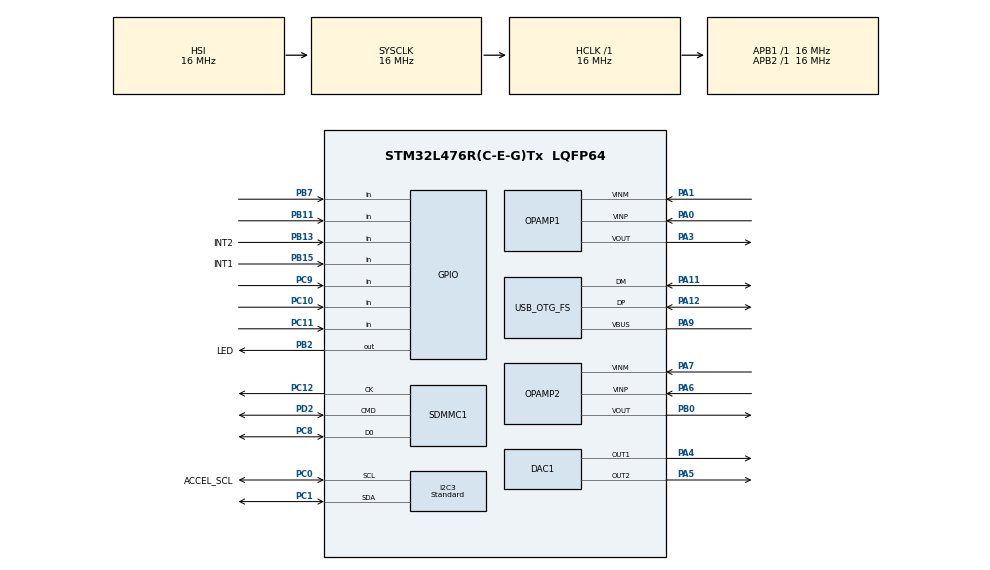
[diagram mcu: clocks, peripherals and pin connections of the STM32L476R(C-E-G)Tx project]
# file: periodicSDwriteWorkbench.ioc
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ADC1.AWD1HighThreshold=3000
ADC1.AWD1ITMode=ENABLE
ADC1.AWD1LowThreshold=1000
ADC1.Channel-0\#ChannelRegularConversion=ADC_CHANNEL_8
ADC1.Channel-1\#ChannelRegularConversion=ADC_CHANNEL_15
ADC1.ClockPrescaler=ADC_CLOCK_ASYNC_DIV8
ADC1.ContinuousConvMode=ENABLE
ADC1.DMAContinuousRequests=ENABLE
ADC1.DataAlign=ADC_DATAALIGN_RIGHT
ADC1.DiscontinuousConvMode=DISABLE
ADC1.EOCSelection=ADC_EOC_SINGLE_CONV
ADC1.EnableAnalogWatchDog1=true
ADC1.EnableAnalogWatchDog2=false
ADC1.EnableAnalogWatchDog3=false
ADC1.EnableInjectedConversion=DISABLE
ADC1.EnableRegularConversion=ENABLE
ADC1.ExternalTrigConv=ADC_SOFTWARE_START
ADC1.ExternalTrigConvEdge=ADC_EXTERNALTRIGCONVEDGE_NONE
ADC1.LowPowerAutoWait=DISABLE
ADC1.NbrOfConversion=2
ADC1.NbrOfConversionFlag=1
ADC1.OffsetNumber-0\#ChannelRegularConversion=ADC_OFFSET_NONE
ADC1.OffsetNumber-1\#ChannelRegularConversion=ADC_OFFSET_NONE
ADC1.Overrun=ADC_OVR_DATA_OVERWRITTEN
ADC1.OversamplingMode=DISABLE
ADC1.Rank-0\#ChannelRegularConversion=1
ADC1.Rank-1\#ChannelRegularConversion=2
ADC1.Resolution=ADC_RESOLUTION_12B
ADC1.SamplingTime-0\#ChannelRegularConversion=ADC_SAMPLETIME_2CYCLES_5
ADC1.SamplingTime-1\#ChannelRegularConversion=ADC_SAMPLETIME_2CYCLES_5
ADC1.ScanConvMode=ADC_SCAN_ENABLE
ADC1.WatchdogChannel=ADC_CHANNEL_15
ADC1.WatchdogMode=ADC_ANALOGWATCHDOG_SINGLE_REG
ADC1.master=1
DAC1.DAC_Channel-DAC_OUT2=DAC_CHANNEL_2
DAC1.DAC_SampleAndHold-DAC_OUT1=DAC_SAMPLEANDHOLD_DISABLE
Dma.ADC1.0.Direction=DMA_PERIPH_TO_MEMORY
Dma.ADC1.0.Instance=DMA1_Channel1
Dma.ADC1.0.MemDataAlignment=DMA_MDATAALIGN_HALFWORD
Dma.ADC1.0.MemInc=DMA_MINC_ENABLE
Dma.ADC1.0.Mode=DMA_CIRCULAR
Dma.ADC1.0.PeriphDataAlignment=DMA_PDATAALIGN_HALFWORD
Dma.ADC1.0.PeriphInc=DMA_PINC_DISABLE
Dma.ADC1.0.Priority=DMA_PRIORITY_MEDIUM
Dma.Request0=ADC1
FATFS.BSP.number=1
FATFS.USE_DMA_CODE_SD=0
FATFS._FS_TIMEOUT=100
FATFS._USE_EXPAND=0
FATFS._USE_FASTSEEK=0
FATFS._USE_LFN=1
FATFS0.BSP.STBoard=false
FATFS0.BSP.api=UnknownBspDriver
FATFS0.BSP.i2caddr=0
FATFS0.BSP.i2creg=0
FATFS0.BSP.instance=PB7
FATFS0.BSP.ip=GPIO
FATFS0.BSP.mode=Input
FATFS0.BSP.name=Detect_SDIO
FATFS0.BSP.solution=PB7
I2C3.I2C_Speed_Mode=I2C_Standard
I2C3.Timing=0x00303D5B
Mcu.Family=STM32L4
Mcu.Name=STM32L476R(C-E-G)Tx
Mcu.Package=LQFP64
NVIC.ADC1_2_IRQn=true\:0\:0\:true\:false\:true\:true
NVIC.DMA1_Channel1_IRQn=true\:1\:0\:true\:false\:true\:false
NVIC.OTG_FS_IRQn=true\:0\:0\:false\:false\:true\:false
NVIC.PriorityGroup=NVIC_PRIORITYGROUP_4
NVIC.TIM6_DAC_IRQn=true\:1\:0\:true\:false\:true\:true
OPAMP1.PowerSupplyRange=OPAMP_POWERSUPPLY_HIGH
OPAMP2.PgaGain=OPAMP_PGA_GAIN_16
OPAMP2.PowerSupplyRange=OPAMP_POWERSUPPLY_HIGH
PA0.Mode=PGA Connected
PA0.Signal=OPAMP1_VINP
PA1.Mode=PGA Connected
PA1.Signal=OPAMP1_VINM
PA11.Mode=Device_Only
PA11.Signal=USB_OTG_FS_DM
PA12.Mode=Device_Only
PA12.Signal=USB_OTG_FS_DP
PA13\ (JTMS-SWDIO).Mode=Trace_Asynchronous_SW
PA13\ (JTMS-SWDIO).Signal=SYS_JTMS-SWDIO
PA14\ (JTCK-SWCLK).GPIO_Label=TCK
PA14\ (JTCK-SWCLK).Mode=Trace_Asynchronous_SW
PA14\ (JTCK-SWCLK).Signal=SYS_JTCK-SWCLK
PA3.Signal=SharedAnalog_PA3
PA4.Signal=COMP_DAC11_group
PA5.Signal=COMP_DAC12_group
PA6.Mode=PGA Connected
PA6.Signal=OPAMP2_VINP
PA7.Mode=PGA Connected
PA7.Signal=OPAMP2_VINM
PA9.Mode=Activate_VBUS
PA9.Signal=USB_OTG_FS_VBUS
PB0.Signal=SharedAnalog_PB0
PB11.Signal=GPIO_Input
PB13.GPIO_Label=INT2
PB13.Signal=GPIO_Input
PB15.GPIO_Label=INT1
PB15.Signal=GPIO_Input
PB2.GPIO_Label=LED
PB2.Signal=GPIO_Output
PB3\ (JTDO-TRACESWO).GPIO_Label=SWO
PB3\ (JTDO-TRACESWO).Mode=Trace_Asynchronous_SW
PB3\ (JTDO-TRACESWO).Signal=SYS_JTDO-SWO
PB7.Signal=GPIO_Input
PC0.GPIO_Label=ACCEL_SCL
PC0.Mode=I2C
PC0.Signal=I2C3_SCL
PC1.Mode=I2C
PC1.Signal=I2C3_SDA
PC10.Signal=GPIO_Input
PC11.Signal=GPIO_Input
PC12.GPIO_PuPd=GPIO_NOPULL
PC12.Mode=SD_1_bit
PC12.Signal=SDMMC1_CK
PC14-OSC32_IN\ (PC14).Mode=LSE-External-Oscillator
PC14-OSC32_IN\ (PC14).Signal=RCC_OSC32_IN
PC15-OSC32_OUT\ (PC15).Mode=LSE-External-Oscillator
PC15-OSC32_OUT\ (PC15).Signal=RCC_OSC32_OUT
PC8.GPIO_PuPd=GPIO_PULLUP
PC8.Mode=SD_1_bit
PC8.Signal=SDMMC1_D0
PC9.Signal=GPIO_Input
PD2.GPIO_PuPd=GPIO_PULLUP
PD2.Mode=SD_1_bit
PD2.Signal=SDMMC1_CMD
ProjectManager.HeapSize=0x100
ProjectManager.StackSize=0x100
ProjectManager.TargetToolchain=SW4STM32
RCC.ADCCLockSelection=RCC_ADCCLKSOURCE_SYSCLK
RCC.ADCFreq_Value=16000000
RCC.AHBFreq_Value=16000000
RCC.APB1Freq_Value=16000000
RCC.APB1TimFreq_Value=16000000
RCC.APB2Freq_Value=16000000
RCC.APB2TimFreq_Value=16000000
RCC.CK48CLockSelection=RCC_USBCLKSOURCE_MSI
RCC.CortexFreq_Value=16000000
RCC.HCLKFreq_Value=16000000
RCC.HSE_VALUE=8000000
RCC.HSI_VALUE=16000000
RCC.MSIClockRange=RCC_MSIRANGE_11
RCC.MSI_VALUE=48000000
RCC.PLLM=2
RCC.PLLN=10
RCC.PLLSAI1N=25
RCC.PLLSAI1Q=RCC_PLLQ_DIV4
RCC.PLLSAI1R=RCC_PLLR_DIV4
RCC.PLLSourceVirtual=RCC_PLLSOURCE_HSI
RCC.PREFETCH_ENABLE=1
RCC.SYSCLKFreq_VALUE=16000000
RCC.SYSCLKSource=RCC_SYSCLKSOURCE_HSI
RCC.USBFreq_Value=48000000
RCC.VCOOutputFreq_Value=80000000
RTC.Alarm-Alarm\ A=RTC_ALARM_A
SDMMC1.ClockDiv=2
SDMMC1.HardwareFlowControl=SDMMC_HARDWARE_FLOW_CONTROL_ENABLE
SH.COMP_DAC11_group.0=DAC1_OUT1,DAC_OUT1
SH.COMP_DAC12_group.0=DAC1_OUT2,DAC_OUT2
SH.SharedAnalog_PA3.0=ADC1_IN8
SH.SharedAnalog_PA3.1=OPAMP1_VOUT,PGA Connected
SH.SharedAnalog_PB0.0=ADC1_IN15
SH.SharedAnalog_PB0.1=OPAMP2_VOUT,PGA Connected
TIM6.AutoReloadPreload=TIM_AUTORELOAD_PRELOAD_ENABLE
TIM6.Period=48000
TIM6.Prescaler=19999
TIM6.TIM_MasterOutputTrigger=TIM_TRGO_UPDATE
USB_DEVICE.CLASS_NAME_FS=CDC
USB_DEVICE.VirtualMode=Cdc
USB_DEVICE.VirtualModeFS=Cdc_FS
USB_OTG_FS.VirtualMode=Device_Only
VP_ADC1_OPAMP1_OUT.Mode=IN-OPAMP1-Single-Ended
VP_ADC1_OPAMP2_OUT.Mode=IN-OPAMP2-Single-Ended
VP_FATFS_VS_SDIO.Mode=SDIO
VP_RNG_VS_RNG.Mode=RNG_Activate
VP_RTC_VS_RTC_Activate.Mode=RTC_Enabled
VP_RTC_VS_RTC_Alarm_A_Intern.Mode=Alarm A
VP_RTC_VS_RTC_Calendar.Mode=RTC_Calendar
VP_TIM6_VS_ClockSourceINT.Mode=Enable_Timer
VP_USB_DEVICE_VS_USB_DEVICE_CDC_FS.Mode=CDC_FS
board=NUCLEO-L476RG

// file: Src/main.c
/**
 ******************************************************************************
 * @file           : main.c
 * @brief          : Main program body
 ******************************************************************************
 * This notice applies to any and all portions of this file
 * that are not between comment pairs USER CODE BEGIN and
 * USER CODE END. Other portions of this file, whether
 * inserted by the user or by software development tools
 * are owned by their respective copyright owners.
 *
 * Copyright (c) 2018 STMicroelectronics International N.V.
 * All rights reserved.
 *
 * Redistribution and use in source and binary forms, with or without
 * modification, are permitted, provided that the following conditions are met:
 *
 * 1. Redistribution of source code must retain the above copyright notice,
 *    this list of conditions and the following disclaimer.
 * 2. Redistributions in binary form must reproduce the above copyright notice,
 *    this list of conditions and the following disclaimer in the documentation
 *    and/or other materials provided with the distribution.
 * 3. Neither the name of STMicroelectronics nor the names of other
 *    contributors to this software may be used to endorse or promote products
 *    derived from this software without specific written permission.
 * 4. This software, including modifications and/or derivative works of this
 *    software, must execute solely and exclusively on microcontroller or
 *    microprocessor devices manufactured by or for STMicroelectronics.
 * 5. Redistribution and use of this software other than as permitted under
 *    this license is void and will automatically terminate your rights under
 *    this license.
 *
 * THIS SOFTWARE IS PROVIDED BY STMICROELECTRONICS AND CONTRIBUTORS "AS IS"
 * AND ANY EXPRESS, IMPLIED OR STATUTORY WARRANTIES, INCLUDING, BUT NOT
 * LIMITED TO, THE IMPLIED WARRANTIES OF MERCHANTABILITY, FITNESS FOR A
 * PARTICULAR PURPOSE AND NON-INFRINGEMENT OF THIRD PARTY INTELLECTUAL PROPERTY
 * RIGHTS ARE DISCLAIMED TO THE FULLEST EXTENT PERMITTED BY LAW. IN NO EVENT
 * SHALL STMICROELECTRONICS OR CONTRIBUTORS BE LIABLE FOR ANY DIRECT, INDIRECT,
 * INCIDENTAL, SPECIAL, EXEMPLARY, OR CONSEQUENTIAL DAMAGES (INCLUDING, BUT NOT
 * LIMITED TO, PROCUREMENT OF SUBSTITUTE GOODS OR SERVICES; LOSS OF USE, DATA,
 * OR PROFITS; OR BUSINESS INTERRUPTION) HOWEVER CAUSED AND ON ANY THEORY OF
 * LIABILITY, WHETHER IN CONTRACT, STRICT LIABILITY, OR TORT (INCLUDING
 * NEGLIGENCE OR OTHERWISE) ARISING IN ANY WAY OUT OF THE USE OF THIS SOFTWARE,
 * EVEN IF ADVISED OF THE POSSIBILITY OF SUCH DAMAGE.
 *
 ******************************************************************************
 */
#include "main.h"
#include "stm32l4xx_hal.h"
#include "adc.h"
#include "dac.h"
#include "dma.h"
#include "fatfs.h"
#include "i2c.h"
#include "opamp.h"
#include "rng.h"
#include "rtc.h"
#include "sdmmc.h"
#include "tim.h"
#include "usb_device.h"
#include "gpio.h"

/* USER CODE BEGIN Includes */
#include "ADXL345.h"
#include <string.h>
/* USER CODE END Includes */

/* USER CODE BEGIN PV */
/* Private variables ---------------------------------------------------------*/

//
typedef enum {
	SD_READY = 0u, SD_SENDING_FIRSTHALF = 1u, SD_SENDING_SECONDHALF = 2u,
} SD_SEND_STATE;

//extern SD_HandleTypeDef hsd1;
HAL_SD_CardStatusTypedef status;
uint32_t wbytes; /* File write counts */
uint32_t byteswritten, bytesread;
uint16_t adcBuffer[numOfMicSamples] = { 0 }; /* File write buffer */
uint8_t *halfADCBuffer = (uint8_t *) adcBuffer + bufferSize / 2; //half of the buffer
uint8_t workBuffer[_MAX_SS];
uint8_t res;
volatile uint8_t sdSendState = SD_READY;
char randomNumberString[12] = { 0 };
char extension[] = "";
char filename[15] = { 0 };
char micFilename[10] = { 0 };
char accelFilename[10] = { 0 };
uint16_t micSDWriteCnt = 0u;
uint8_t micWriteSD = 0u;

//rtc
uint8_t aShowTime[8] = { 0 };

//uart
uint8_t uartData[50];
uint8_t errorCode = 0u;

//analog watchdog tresholds
uint16_t lt = 1500;
uint16_t ht = 2500;

//accelerometer
int16_t accelData[numOfAccelSamples][3] = { 0 };
uint16_t accelCurrentPos = 0u;
volatile uint8_t watermarkInt = 0u;
volatile uint16_t dataLeftInFifo = 0u;
uint8_t accelWriteSD = 0u;

//fatfs
FIL micSDFile;
FIL accelSDFile;
/* USER CODE END PV */

void SystemClock_Config(void);

/* USER CODE BEGIN PFP */
/* Private function prototypes -----------------------------------------------*/
void startSampling();

void startSDCard();
HAL_StatusTypeDef startADC();
HAL_StatusTypeDef stopADC();
HAL_StatusTypeDef reConfigureAWD1(uint16_t lt, uint16_t ht);
void RTC_TimeShow(uint8_t* showtime);

void createFilename();
void createMicFilename();
void createAccelFilename();
HAL_StatusTypeDef openAndExpandMicFile();
HAL_StatusTypeDef openAndExpandAccelFile();

FRESULT writeHalfBuffer(const void* startAddress);
void micSDWritesFinished();
void accelSDWritesFinished();

FRESULT writeAccelData();
void readAccelData(uint8_t n);
void initAccel();
void startAccel();
void stopAccel();

//DAC
void startDAC();
void stopDAC();
/* USER CODE END PFP */

int main(void)
{

	/* MCU Configuration----------------------------------------------------------*/

	/* Reset of all peripherals, Initializes the Flash interface and the Systick. */
	HAL_Init();

	/* Configure the system clock */
	SystemClock_Config();

	/* Initialize all configured peripherals */
	MX_GPIO_Init();
	MX_DMA_Init();
	MX_OPAMP2_Init();
	MX_ADC1_Init();
	MX_SDMMC1_SD_Init();
	MX_FATFS_Init();
	MX_TIM6_Init();
	MX_RTC_Init();
	MX_RNG_Init();
	MX_I2C3_Init();
	MX_USB_DEVICE_Init();
	MX_OPAMP1_Init();
	MX_DAC1_Init();
	/* USER CODE BEGIN 2 */
	//sprintf((char*) uartData, "reset\n");
	//HAL_UART_Transmit(&huart2, uartData, strlen(uartData), 100);
	//start SD card, mount file system
	startSDCard();
	//open and expand files for Mic and Accelerometer
	openAndExpandMicFile();
	openAndExpandAccelFile();
	//init accelerometer
	initAccel();
	//init channel biases
	startDAC();
	//start opamp(s)
	HAL_OPAMP_Start(&hopamp1);
	HAL_OPAMP_Start(&hopamp2);
	//start ADC in DMA circular mode
	startADC();
	//start timer
	HAL_TIM_Base_Start_IT(&htim6);
	//the system is ready to write SD card
	sdSendState = SD_READY; //place it!!!

	/* USER CODE END 2 */

	/* Infinite loop */
	while (1) {

		/* USER CODE BEGIN 3 */
		if (micWriteSD == 1) {
			if (sdSendState == SD_SENDING_FIRSTHALF) {
				if (writeHalfBuffer(adcBuffer) == FR_OK) {
					if (sdSendState == SD_SENDING_FIRSTHALF) {
						sdSendState = SD_READY;
					}
					//HAL_GPIO_WritePin(GPIOB, GPIO_PIN_13, 0);
					micSDWriteCnt++;
				}
			}
			if (sdSendState == SD_SENDING_SECONDHALF) {
				if (writeHalfBuffer(halfADCBuffer) == FR_OK) {
					if (sdSendState == SD_SENDING_SECONDHALF) {
						sdSendState = SD_READY;
					}
					//HAL_GPIO_WritePin(GPIOB, GPIO_PIN_14, 0);
					micSDWriteCnt++;
				}
			}
			if (micSDWriteCnt >= numOfBufferWrites) {
				micSDWritesFinished();
			}
			if (sdSendState == SD_SENDING_FIRSTHALF
					|| sdSendState == SD_SENDING_SECONDHALF) {
				continue;
			}
		}
		if (accelWriteSD == 1) {
			//check accelerometer
			if (HAL_GPIO_ReadPin(GPIOB, GPIO_PIN_15) == GPIO_PIN_SET) {
				watermarkInt = 1u;
				dataLeftInFifo = 25u;
			} else {
				watermarkInt = 0u;
			}
			//if there are enough samples -> watermark 1 -> read one sample
			if (dataLeftInFifo > 0u) {
				readAccelData(1);
				dataLeftInFifo--;
			}
			//if we have enough data -> write to SD card and open new file
			if (accelCurrentPos >= numOfAccelSamples) {
				writeAccelData();
				accelSDWritesFinished();
			}
		}
	}
	/* USER CODE END 3 */

}

void SystemClock_Config(void)
{

	RCC_OscInitTypeDef RCC_OscInitStruct;
	RCC_ClkInitTypeDef RCC_ClkInitStruct;
	RCC_PeriphCLKInitTypeDef PeriphClkInit;

	/**Configure LSE Drive Capability
	 */
	__HAL_RCC_LSEDRIVE_CONFIG(RCC_LSEDRIVE_LOW);

	/**Initializes the CPU, AHB and APB busses clocks
	 */
	RCC_OscInitStruct.OscillatorType = RCC_OSCILLATORTYPE_HSI|RCC_OSCILLATORTYPE_LSI
			|RCC_OSCILLATORTYPE_LSE|RCC_OSCILLATORTYPE_MSI;
	RCC_OscInitStruct.LSEState = RCC_LSE_ON;
	RCC_OscInitStruct.HSIState = RCC_HSI_ON;
	RCC_OscInitStruct.HSICalibrationValue = 16;
	RCC_OscInitStruct.LSIState = RCC_LSI_ON;
	RCC_OscInitStruct.MSIState = RCC_MSI_ON;
	RCC_OscInitStruct.MSICalibrationValue = 0;
	RCC_OscInitStruct.MSIClockRange = RCC_MSIRANGE_11;
	RCC_OscInitStruct.PLL.PLLState = RCC_PLL_NONE;
	if (HAL_RCC_OscConfig(&RCC_OscInitStruct) != HAL_OK)
	{
		_Error_Handler(__FILE__, __LINE__);
	}

	/**Initializes the CPU, AHB and APB busses clocks
	 */
	RCC_ClkInitStruct.ClockType = RCC_CLOCKTYPE_HCLK|RCC_CLOCKTYPE_SYSCLK
			|RCC_CLOCKTYPE_PCLK1|RCC_CLOCKTYPE_PCLK2;
	RCC_ClkInitStruct.SYSCLKSource = RCC_SYSCLKSOURCE_HSI;
	RCC_ClkInitStruct.AHBCLKDivider = RCC_SYSCLK_DIV1;
	RCC_ClkInitStruct.APB1CLKDivider = RCC_HCLK_DIV1;
	RCC_ClkInitStruct.APB2CLKDivider = RCC_HCLK_DIV1;

	if (HAL_RCC_ClockConfig(&RCC_ClkInitStruct, FLASH_LATENCY_0) != HAL_OK)
	{
		_Error_Handler(__FILE__, __LINE__);
	}

	PeriphClkInit.PeriphClockSelection = RCC_PERIPHCLK_RTC|RCC_PERIPHCLK_I2C3
			|RCC_PERIPHCLK_USB|RCC_PERIPHCLK_SDMMC1
			|RCC_PERIPHCLK_RNG|RCC_PERIPHCLK_ADC;
	PeriphClkInit.I2c3ClockSelection = RCC_I2C3CLKSOURCE_PCLK1;
	PeriphClkInit.AdcClockSelection = RCC_ADCCLKSOURCE_SYSCLK;
	PeriphClkInit.RTCClockSelection = RCC_RTCCLKSOURCE_LSI;
	PeriphClkInit.UsbClockSelection = RCC_USBCLKSOURCE_MSI;
	PeriphClkInit.RngClockSelection = RCC_RNGCLKSOURCE_MSI;
	PeriphClkInit.Sdmmc1ClockSelection = RCC_SDMMC1CLKSOURCE_MSI;
	if (HAL_RCCEx_PeriphCLKConfig(&PeriphClkInit) != HAL_OK)
	{
		_Error_Handler(__FILE__, __LINE__);
	}

	/**Configure the main internal regulator output voltage
	 */
	 if (HAL_PWREx_ControlVoltageScaling(PWR_REGULATOR_VOLTAGE_SCALE1) != HAL_OK)
	 {
		 _Error_Handler(__FILE__, __LINE__);
	 }

	 /**Configure the Systick interrupt time
	  */
	 HAL_SYSTICK_Config(HAL_RCC_GetHCLKFreq()/1000);

	 /**Configure the Systick
	  */
	 HAL_SYSTICK_CLKSourceConfig(SYSTICK_CLKSOURCE_HCLK);

	 /**Enable MSI Auto calibration
	  */
	 HAL_RCCEx_EnableMSIPLLMode();

	 /* SysTick_IRQn interrupt configuration */
	 HAL_NVIC_SetPriority(SysTick_IRQn, 0, 0);
}

/* USER CODE BEGIN 4 */
void HAL_TIM_PeriodElapsedCallback(TIM_HandleTypeDef *htim) {
	startSampling();
}

void HAL_ADC_LevelOutOfWindowCallback(ADC_HandleTypeDef* hadc) {
	startSampling();
}

void startSampling() {
	if (micWriteSD == 0u) {
		//enable mic sd write flag
		micWriteSD = 1u;
		//disable analog watchdog interrupt
		NVIC_DisableIRQ(ADC1_2_IRQn);
		//debug
		HAL_GPIO_WritePin(GPIOB, GPIO_PIN_2, 1);
	}
	if (accelWriteSD == 0u) {
		//enable accel sd write flag
		accelWriteSD = 1u;
		//put it into measurement mode
		startAccel();
	}
}

void startSDCard() {
	//try to init SD card
	if ((errorCode = BSP_SD_Init()) != MSD_OK) {
		Error_Handler();
	}
#ifdef FATFS_MKFS_ALLOWED
	if((errorCode=f_mount(&SDFatFS, (TCHAR const*)SDPath, 0)) == FR_OK)
	{
		if ((errorCode=f_mkfs(SDPath, FM_ANY, 0, workBuffer, sizeof(workBuffer))) != FR_OK)
		{
			Error_Handler();
		}
	}
#else
	if ((errorCode = f_mount(&SDFatFS, (TCHAR const*) SDPath, 0)) != FR_OK) {
		Error_Handler();
	}
#endif
}

HAL_StatusTypeDef startADC() {
	if ((res = HAL_ADC_Start_DMA(&hadc1, (uint32_t*) &adcBuffer, numOfMicSamples))
			!= HAL_OK) {
		errorCode = (uint8_t) res;
		Error_Handler();
	}
	//enable AW interrupt
	NVIC_EnableIRQ(ADC1_2_IRQn);
	//__HAL_DMA_DISABLE_IT(hadc1.DMA_Handle, DMA_IT_HT);
	//__HAL_DMA_DISABLE_IT(hadc1.DMA_Handle, DMA_IT_TC);
	return res;
}

HAL_StatusTypeDef stopADC() {
	NVIC_DisableIRQ(ADC1_2_IRQn);
	HAL_StatusTypeDef res = HAL_ADC_Stop_DMA(&hadc1);
	return res;
}

HAL_StatusTypeDef reConfigureAWD1(uint16_t lt, uint16_t ht) {
	//stop ADC
	if (stopADC() != HAL_OK) {
		return HAL_ERROR;
	}
	//set new treshold values
	ADC_AnalogWDGConfTypeDef AnalogWDGConfig;
	AnalogWDGConfig.WatchdogNumber = ADC_ANALOGWATCHDOG_1;
	AnalogWDGConfig.WatchdogMode = ADC_ANALOGWATCHDOG_SINGLE_REG;
	AnalogWDGConfig.Channel = ADC_CHANNEL_15;
	AnalogWDGConfig.ITMode = ENABLE;
	AnalogWDGConfig.HighThreshold = ht;
	AnalogWDGConfig.LowThreshold = lt;
	//enable new configuraton
	if (HAL_ADC_AnalogWDGConfig(&hadc1, &AnalogWDGConfig) != HAL_OK) {
		Error_Handler();
		return HAL_ERROR;
	}
	//restart ADC
	if (startADC() != HAL_OK) {
		return HAL_ERROR;
	}
	return HAL_OK;
}

void RTC_TimeShow(uint8_t* showtime) {
	RTC_DateTypeDef sdatestructureget;
	RTC_TimeTypeDef stimestructureget;

	/* Get the RTC current Time */
	HAL_RTC_GetTime(&hrtc, &stimestructureget, RTC_FORMAT_BIN);
	/* Get the RTC current Date */
	HAL_RTC_GetDate(&hrtc, &sdatestructureget, RTC_FORMAT_BIN);
	/* Display time Format : hh:mm:ss */
	sprintf((char*) showtime, "%02d%02d%02d%02d", sdatestructureget.Date,
			stimestructureget.Hours, stimestructureget.Minutes,
			stimestructureget.Seconds);
}

void createFilename() {
	RTC_TimeShow(aShowTime);
	//uint32_t randomNumber = 0;
	//HAL_RNG_GenerateRandomNumber(&hrng, &randomNumber);
	//sprintf(randomNumberString, "%lu", randomNumber);
	//sprintf(filename, "%.6s%.1s%s",aShowTime, randomNumberString, extension);
	//sprintf(filename, "%.8s%.1s", aShowTime, randomNumberString);
	sprintf(filename, "%.8s", aShowTime);
	//sprintf((char*) uartData, "%s\n", filename);
	//HAL_UART_Transmit(&huart2, uartData, strlen(uartData), 100);
}

void createMicFilename() {
	createFilename();
	sprintf(micFilename, "%.8sM", filename);
}

void createAccelFilename() {
	createFilename();
	sprintf(accelFilename, "%.8sA", filename);
}

HAL_StatusTypeDef openAndExpandMicFile() {
	createMicFilename();
	if ((errorCode = f_open(&micSDFile, micFilename,
			FA_CREATE_ALWAYS | FA_WRITE)) == FR_OK) {
		//		if ((errorCode = f_expand(&micSDFile, micFileSize, 1)) != FR_OK) {
		//			Error_Handler();
		//			return HAL_ERROR;
		//		}
		if ((errorCode = f_lseek(&micSDFile, micFileSize)) != FR_OK) {
			Error_Handler();
			return HAL_ERROR;
		}
		if ((errorCode = f_lseek(&micSDFile, 0)) == FR_OK) {
			return HAL_OK;
		} else {
			Error_Handler();
			return HAL_ERROR;
		}
	} else {
		Error_Handler();
		return HAL_ERROR;
	}
}

HAL_StatusTypeDef openAndExpandAccelFile() {
	createAccelFilename();
	if ((errorCode = f_open(&accelSDFile, accelFilename,
			FA_CREATE_ALWAYS | FA_WRITE)) == FR_OK) {
		//try to use f_expand(file, size, operation mode(0/1))
		//		if ((errorCode = f_expand(&accelSDFile, accelFileSize, 1)) != FR_OK) {
		//			Error_Handler();
		//			return HAL_ERROR;
		//		}
		if ((errorCode = f_lseek(&accelSDFile, accelFileSize)) != FR_OK) {
			Error_Handler();
			return HAL_ERROR;
		}
		if ((errorCode = f_lseek(&accelSDFile, 0)) == FR_OK) {
			return HAL_OK;
		} else {
			Error_Handler();
			return HAL_ERROR;
		}
	} else {
		Error_Handler();
		return HAL_ERROR;
	}
}

FRESULT writeHalfBuffer(const void* startAddress) {
	//__HAL_DMA_DISABLE_IT(hadc1.DMA_Handle, DMA_IT_HT);
	//__HAL_DMA_DISABLE_IT(hadc1.DMA_Handle, DMA_IT_TC);
	if ((errorCode = f_write(&micSDFile, startAddress,
			(elementLength * numOfMicSamples) / 2, (void *) &wbytes)) == FR_OK) {
		return FR_OK;
	} else {
		Error_Handler();
		return FR_INT_ERR;
	}
}

void micSDWritesFinished() {
	//disable mic SD write flag
	micWriteSD = 0u;
	//close the reent file
	f_close(&micSDFile);
	//maybe modify treshold values
	if (reConfigureAWD1(lt, ht) != HAL_OK) {
		Error_Handler();
	}
	//debug
	HAL_GPIO_WritePin(GPIOB, GPIO_PIN_2, 0);
	//sprintf((char*) uartData, "fin\n", filename);
	//HAL_UART_Transmit(&huart2, uartData, strlen(uartData), 100);
	//open and expand a new file
	openAndExpandMicFile();
	//reset write counter
	micSDWriteCnt = 0u;
	//enable AW, we are ready
	NVIC_EnableIRQ(ADC1_2_IRQn);
}

void accelSDWritesFinished() {
	//close the related file
	f_close(&accelSDFile);
	//put accelerometer to standby mode
	stopAccel();
	//sprintf((char*) uartData, "accF\n", filename);
	//HAL_UART_Transmit(&huart2, uartData, strlen(uartData), 100);
	//prepare the next file
	openAndExpandAccelFile();
	//we have 0 sample now
	accelCurrentPos = 0u;
	//disable accel SD write flag
	accelWriteSD = 0u;
}

FRESULT writeAccelData() {
	if ((errorCode = f_write(&accelSDFile, accelData, accelFileSize,
			(void *) &wbytes)) == FR_OK) {
		return FR_OK;
	} else {
		Error_Handler();
		return FR_INT_ERR;
	}
}

void readAccelData(uint8_t n) {
	for (; n > 0; n--) {
		ADXL345_GetXyz(&accelData[accelCurrentPos][0],
				&accelData[accelCurrentPos][1], &accelData[accelCurrentPos][2]);
		accelCurrentPos++;
		if (accelCurrentPos >= numOfAccelSamples) {
			break;
		}
	}
}

//initialize and configure accelerometer
void initAccel() {
	uint8_t reg = 0u;
	HAL_I2C_MspInit(&hi2c3);
	ADXL345_Init(ADXL345_I2C_COMM);
	ADXL345_SetPowerMode(0);
	//Set data parameters such as data rate, measurement range, data format, and offset adjustment.
	reg = ADXL345_GetRegisterValue(ADXL345_BW_RATE);
	reg = (reg & 0xF0) | 0x07; //0111 - 12,5Hz
	ADXL345_SetRegisterValue(ADXL345_BW_RATE, reg);
	//Configure interrupts (do not enable): thresholds and timing values, and map interrupts to pins.
	ADXL345_SetRegisterValue(ADXL345_INT_MAP, 0x00); //all interrupts connected to INT1
	reg = ADXL345_GetRegisterValue(ADXL345_DATA_FORMAT);
	reg = (reg & 0xFC) | 0x03; //11 - +-16g
	ADXL345_SetRegisterValue(ADXL345_DATA_FORMAT, reg);

	//How to reset FIFO -> put to bypass mode maybe

	//Configure FIFO (if in use): mode, trigger interrupt if using trigger mode, and samples bits.
	ADXL345_SetRegisterValue(ADXL345_FIFO_CTL, 0x00); //clears FIFO
	ADXL345_SetRegisterValue(ADXL345_FIFO_CTL, 0x59); //01- FIFO mode, 0 - trigger bit, 11001 - 25 samples (2 seconds) = 0101 1001 -> 0x59
	//Enable interrupts: INT_ENABLE register.
	ADXL345_SetRegisterValue(ADXL345_INT_ENABLE, 0x00);
	ADXL345_SetRegisterValue(ADXL345_INT_ENABLE, ADXL345_WATERMARK); //enable Watermark
	//ADXL345_SetRegisterValue(ADXL345_INT_ENABLE, ADXL345_DATA_READY); //enable data ready
}

//Place part into measurement mode: POWER_CTL register
void startAccel() {
	ADXL345_SetPowerMode(1);
}

//Place part into standby mode and clear FIFO
void stopAccel() {
	//disable interrupts
	ADXL345_SetRegisterValue(ADXL345_INT_ENABLE, 0x00);
	//put to standby mode
	ADXL345_SetPowerMode(0);
	//reconfigure for fast wake up time
	ADXL345_SetRegisterValue(ADXL345_FIFO_CTL, 0x00); //clears FIFO, bypass mode
	ADXL345_SetRegisterValue(ADXL345_FIFO_CTL, 0x59); //01- FIFO mode, 0 - trigger bit, 11001 - 25 samples (2 seconds) = 0101 1001 -> 0x59
	dataLeftInFifo = 0u;
	ADXL345_SetRegisterValue(ADXL345_INT_ENABLE, ADXL345_WATERMARK); //enable Watermark
}

void startDAC() {
	//Set DAC channel1 value: PIEZO x 16 channel bias
	if (HAL_DAC_SetValue(&hdac1, DAC_CHANNEL_1, DAC_ALIGN_12B_R, 4096 / 16)
			!= HAL_OK) {
		/* Setting value Error */
		Error_Handler();
	}
	//Enable DAC Channel1
	if (HAL_DAC_Start(&hdac1, DAC_CHANNEL_1) != HAL_OK) {
		/* Start Error */
		Error_Handler();
	}
}

void stopDAC() {
	if (HAL_DAC_Stop(&hdac1, DAC_CHANNEL_1) != HAL_OK) {
		/* Start Error */
		Error_Handler();
	}
}

/* USER CODE END 4 */

void _Error_Handler(char *file, int line)
{
	/* USER CODE BEGIN Error_Handler_Debug */
	/* User can add his own implementation to report the HAL error return state */
	while (1) {
		HAL_GPIO_WritePin(GPIOB, GPIO_PIN_2, 1);
		HAL_Delay(500);
		HAL_GPIO_WritePin(GPIOB, GPIO_PIN_2, 0);
		HAL_Delay(500);
		HAL_GPIO_WritePin(GPIOB, GPIO_PIN_2, 1);
		HAL_Delay(500);
		HAL_GPIO_WritePin(GPIOB, GPIO_PIN_2, 0);
		HAL_Delay(500);
		HAL_GPIO_WritePin(GPIOB, GPIO_PIN_2, 1);
		HAL_Delay(500);
		HAL_GPIO_WritePin(GPIOB, GPIO_PIN_2, 0);
		HAL_Delay(500);
		sprintf((char*) uartData, "E:%s%04d_%02d\n", file, line, errorCode);
		//HAL_UART_Transmit(&huart2, uartData, strlen((char*) uartData), 1000);
		NVIC_SystemReset();
	}
	/* USER CODE END Error_Handler_Debug */
}

/************************ (C) COPYRIGHT STMicroelectronics *****END OF FILE****/
